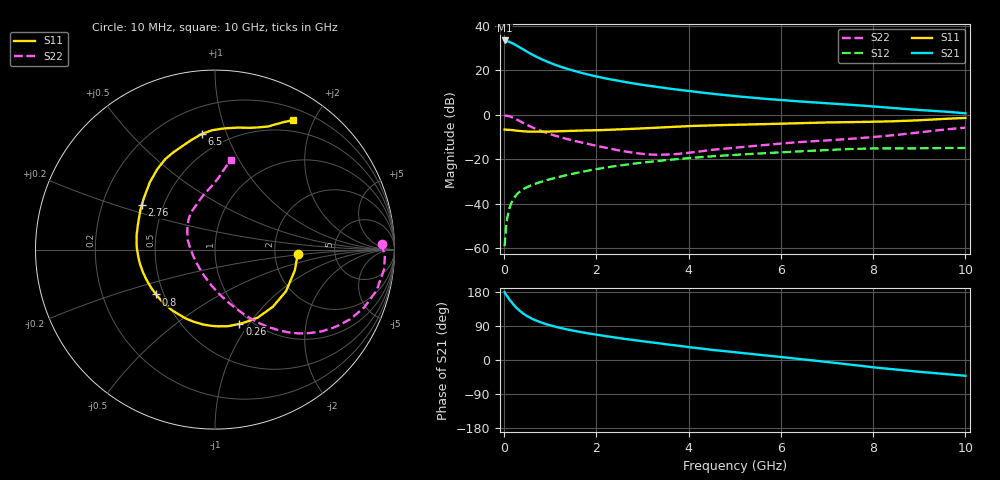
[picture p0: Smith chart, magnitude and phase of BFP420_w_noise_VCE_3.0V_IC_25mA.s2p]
! Infineon Technologies  Discrete & RF Semiconductors
! BFP420
! VCE =  3.0 V,  IC =  25 mA
! Common Emitter S-Parameters:  Jan 2016
# GHz  S  MA  R  50
!  f  S11  S21  S12  S22
! GHz  MAG  ANG  MAG  ANG  MAG  ANG  MAG  ANG
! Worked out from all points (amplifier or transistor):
!   233 points, 10 MHz to 10 GHz, reference 50 ohm
!   highest |S21| = 33.3 dB at 10 MHz (marker M1)
!   |S21| within 3 dB of that: start of sweep to 329.3 MHz
!   unconditionally stable (mu >= 1): 1.683 GHz to end of sweep
!   at 200 MHz: K = 0.28, MSG = 34.9 dB, |S12| = -37.9 dB
!   at 1.74 GHz: K = 1.01, MAG = 21.3 dB, |S12| = -25.5 dB
!   at 10 GHz: K = 1.06, MAG = 6.2 dB, |S12| = -15.0 dB
!   lowest NFmin = 1.38 dB at 900 MHz
!   S11 on the Smith chart (normalised r, x): 10 MHz: 2.70, -0.18; 260 MHz: 0.88, -0.90; 800 MHz: 0.45, -0.27; 2.76 GHz: 0.38, +0.24; 6.5 GHz: 0.37, +0.82; 10 GHz: 0.35, +1.71
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0.01  0.4615 -3.2  46.45 178.9  0.0011 122.8  0.9291 2.0
0.02  0.4593 -6.1  45.35 176.1  0.0016 83.4  0.9471 -2.1
0.065  0.4557 -19.3  44.4 168.1  0.0046 82.1  0.9409 -8.9
0.1  0.4587 -30.5  43.71 162.0  0.0069 78.8  0.9285 -14.2
0.15  0.4531 -44.7  41.69 153.8  0.0099 74.2  0.8921 -21.1
0.2  0.4476 -57.7  39.35 146.5  0.0127 70.4  0.8473 -27.2
0.26  0.4359 -71.8  36.22 138.5  0.0154 66.6  0.7891 -33.5
0.3  0.4329 -80.5  34.32 133.7  0.0171 64.7  0.7505 -37.3
0.4  0.4228 -98.6  29.7 123.7  0.0206 60.9  0.6606 -45.0
0.5  0.4169 -113.3  25.77 115.7  0.0235 58.5  0.584 -50.9
0.6  0.4143 -125.0  22.56 109.1  0.026 57.1  0.5214 -55.7
0.8  0.4128 -142.7  17.77 99.0  0.0306 56.1  0.4281 -63.0
1  0.417 -155.7  14.5 91.3  0.0352 55.7  0.3622 -69.0
1.2  0.4229 -165.7  12.15 85.0  0.0399 55.5  0.3134 -74.5
1.68  0.4375 176.6  8.649 73.3  0.0515 54.0  0.2348 -87.2
2.76  0.477 148.8  5.101 53.4  0.0777 46.8  0.1408 -124.7
3.4  0.5139 136.0  4.069 43.4  0.0922 41.2  0.125 -156.4
5.1  0.5923 112.0  2.547 19.2  0.1262 25.6  0.1838 147.1
6.5  0.6485 96.6  1.946 1.2  0.1507 13.0  0.2459 123.2
6.8  0.6579 93.4  1.855 -2.6  0.1561 10.0  0.2552 118.3
8.4  0.7058 74.0  1.414 -24.3  0.1741 -7.8  0.3407 95.3
10  0.8413 59.0  1.07 -41.7  0.1781 -20.1  0.5084 79.7
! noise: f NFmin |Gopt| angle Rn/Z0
0.9  1.38  0.22  -154  0.13
1.8  1.65  0.29  -143  0.13
2.4  1.81  0.26  -138  0.17
3  1.83  0.34  -129  0.18
4  1.97  0.45  -112  0.27
5  2.4  0.49  -95  0.44
6  2.85  0.54  -84  0.65
